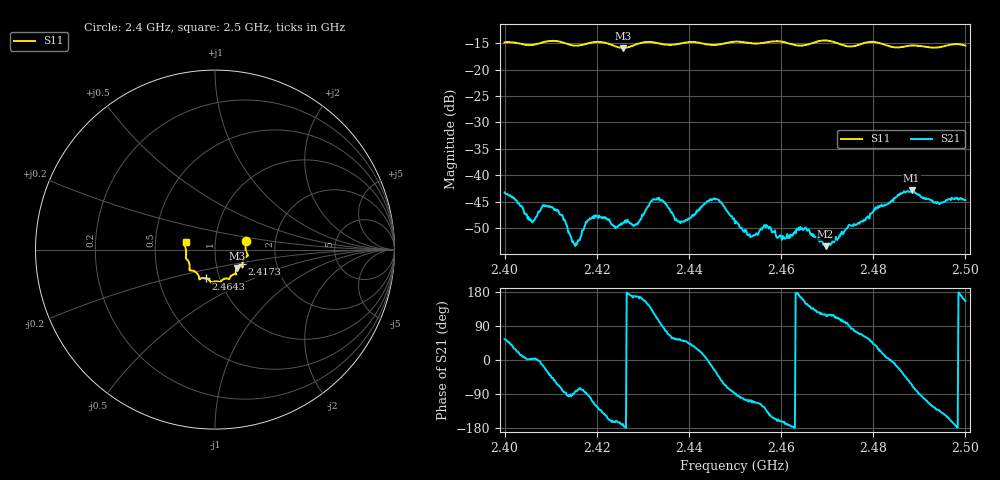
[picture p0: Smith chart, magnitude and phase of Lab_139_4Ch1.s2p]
# Hz S RI R 50
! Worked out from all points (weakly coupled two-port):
!   601 points, 2.4 GHz to 2.5 GHz, reference 50 ohm
!   highest |S21| = -42.86 dB at 2.4883 GHz (marker M1); lowest = -53.4 dB at 2.4697 GHz (marker M2)
!   lowest |S11| = -15.9 dB at 2.4257 GHz (marker M3), VSWR 1.38, Z = 62.5 - j13.1 ohm
!   |S11| at or under -10 dB: start of sweep to end of sweep
!   S12 and S22 are empty: the file has one direction only
!   S11 on the Smith chart (normalised r, x): 2.4 GHz: 1.41, +0.14; 2.4173 GHz: 1.34, -0.23; 2.4643 GHz: 0.86, -0.28; 2.5 GHz: 0.72, +0.06
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2.4e9  0.1734 0.0495  0.00397 0.00563  0 0  0 0
2.405833e9  0.1702 0.00298  0.00372 0.000247  0 0  0 0
2.41e9  0.1836 -0.0324  0.0037 -0.00329  0 0  0 0
2.412667e9  0.1758 -0.0387  0.000565 -0.00396  0 0  0 0
2.415167e9  0.158 -0.0575  0.000197 -0.00223  0 0  0 0
2.416667e9  0.1528 -0.0751  0.000562 -0.00266  0 0  0 0
2.417333e9  0.1522 -0.0824  0.000351 -0.00325  0 0  0 0
2.419667e9  0.1541 -0.0969  -0.00204 -0.00364  0 0  0 0
2.425667e9  0.1228 -0.1026  -0.00346 -0.000659  0 0  0 0
2.4285e9  0.1153 -0.128  -0.00333 0.000793  0 0  0 0
2.433333e9  0.1126 -0.1365  -0.00168 0.00566  0 0  0 0
2.438167e9  0.0825 -0.1556  0.00216 0.00278  0 0  0 0
2.446e9  0.0473 -0.1647  0.00489 -0.00341  0 0  0 0
2.45e9  0.0297 -0.1809  5.78e-05 -0.0035  0 0  0 0
2.453333e9  0.0149 -0.1768  -0.000839 -0.00245  0 0  0 0
2.464333e9  -0.0502 -0.1606  -0.00302 0.00077  0 0  0 0
2.466667e9  -0.0763 -0.1599  -0.00198 0.00197  0 0  0 0
2.469667e9  -0.0879 -0.1664  -0.00109 0.00184  0 0  0 0
2.483333e9  -0.1408 -0.0895  0.00538 0.000316  0 0  0 0
2.488333e9  -0.1612 -0.0493  0.00313 -0.00648  0 0  0 0
2.494e9  -0.1617 -0.00151  -0.00374 -0.00411  0 0  0 0
2.5e9  -0.1634 0.0418  -0.00531 0.0024  0 0  0 0
